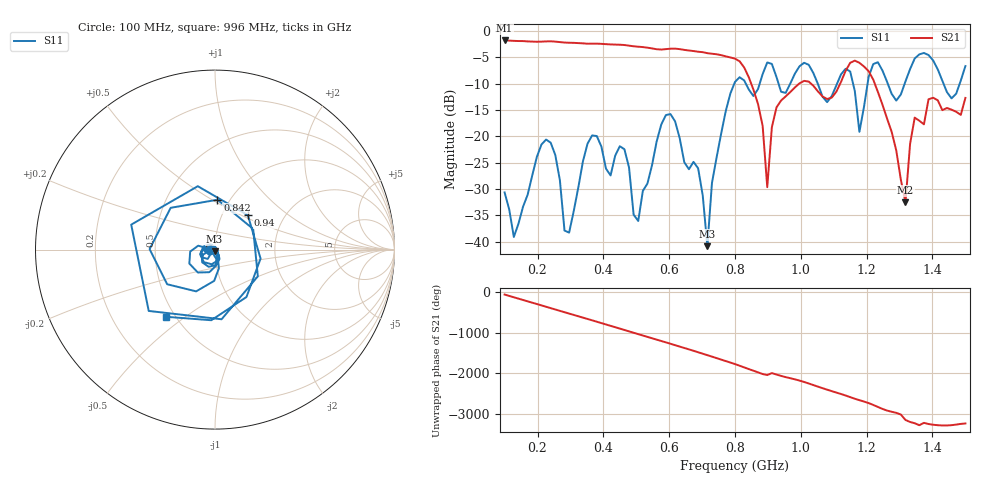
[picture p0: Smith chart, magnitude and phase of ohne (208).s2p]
! NanoVNA-App
! Date: 2025-09-25 14:22:25
! Start: 100MHz Stop: 1,5GHz Points: 101
! S-Parameter data: F S11 S21 S12 S22
# Hz S RI R 50
!  Frequency  S11_Real  S11_Imag  S21_Real  S21_Imag  S12_Real  S12_Imag  S22_Real  S22_Imag
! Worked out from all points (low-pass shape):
!   101 points, 100 MHz to 1.5 GHz, reference 50 ohm
!   highest |S21| = -1.79 dB at 100 MHz (marker M1); lowest = -32.5 dB at 1.318 GHz (marker M2)
!   |S21| within 3 dB of the highest: start of sweep to 770.9 MHz
!   lowest |S11| = -40.8 dB at 716 MHz (marker M3), VSWR 1.02, Z = 49.8 - j0.872 ohm
!   |S11| at or under -10 dB: start of sweep to 797.8 MHz; 833 MHz to 875 MHz (42.04 MHz wide, 4.92 % of centre); 1.052 GHz to 1.11 GHz (58.51 MHz wide, 5.41 % of centre) (the widest 3 of 7)
!   S12 and S22 are empty: the file has one direction only
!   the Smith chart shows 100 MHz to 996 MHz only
!   S11 on the Smith chart (normalised r, x): 100 MHz: 0.94, -0.01; 842 MHz: 0.88, +0.53; 940 MHz: 1.32, +0.55; 996 MHz: 0.45, -0.43
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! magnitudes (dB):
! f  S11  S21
! 100 MHz  -30.6  -1.8
! 128 MHz  -39.1  -1.9
! 226 MHz  -20.6  -2.0
! 296 MHz  -38.3  -2.2
! 338 MHz  -24.7  -2.3
! 464 MHz  -22.4  -2.7
! 506 MHz  -36.1  -3.0
! 576 MHz  -17.7  -3.5
! 688 MHz  -26.1  -3.9
! 716 MHz  -40.8  -4.2
! 800 MHz  -9.7  -5.2
! 842 MHz  -11.1  -8.8
! 898 MHz  -6.0  -29.6
! 940 MHz  -11.5  -13.2
! 996 MHz  -6.7  -9.9
! 1.038 GHz  -8.0  -10.4
! 1.178 GHz  -19.1  -6.0
! 1.22 GHz  -6.3  -9.2
! 1.276 GHz  -11.9  -19.1
! 1.318 GHz  -9.5  -32.5
! 1.346 GHz  -5.2  -16.4
! 1.5 GHz  -6.7  -12.7
